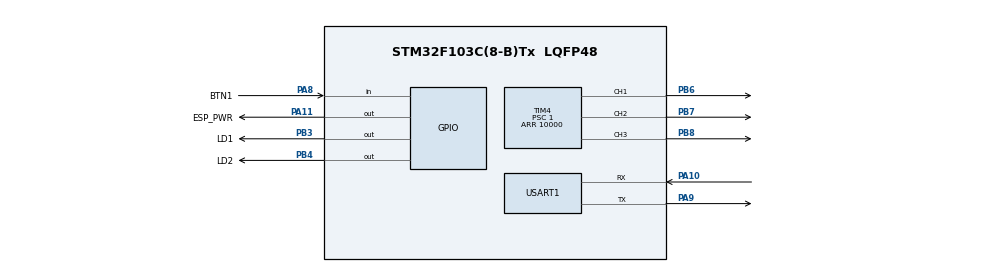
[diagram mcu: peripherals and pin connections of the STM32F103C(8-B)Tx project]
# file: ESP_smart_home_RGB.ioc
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Mcu.Family=STM32F1
TIM4.Channel-PWM\ Generation1\ CH1=TIM_CHANNEL_1
Dma.USART1_TX.1.Instance=DMA1_Channel4
TIM4.Pulse-PWM\ Generation3\ CH3=10000
NVIC.DMA1_Channel5_IRQn=true\:0\:0\:false\:false\:true\:false\:true
Dma.USART1_RX.0.PeriphDataAlignment=DMA_PDATAALIGN_BYTE
PA10.Mode=Asynchronous
Dma.USART1_TX.1.MemInc=DMA_MINC_ENABLE
PA11.GPIO_Label=ESP_PWR
ProjectManager.StackSize=0x400
PA13.Signal=SYS_JTMS-SWDIO
PA9.Mode=Asynchronous
PA8.GPIO_Label=BTN1
ProjectManager.TargetToolchain=STM32CubeIDE
TIM4.OCMode_PWM-PWM\ Generation3\ CH3=TIM_OCMODE_PWM2
SH.S_TIM4_CH3.0=TIM4_CH3,PWM Generation3 CH3
Dma.USART1_RX.0.Direction=DMA_PERIPH_TO_MEMORY
TIM4.Pulse-PWM\ Generation1\ CH1=5000
PA9.Signal=USART1_TX
TIM4.OCMode_PWM-PWM\ Generation1\ CH1=TIM_OCMODE_PWM2
PB6.Signal=S_TIM4_CH1
TIM4.Prescaler=1
Dma.USART1_RX.0.PeriphInc=DMA_PINC_DISABLE
Dma.USART1_RX.0.Priority=DMA_PRIORITY_LOW
TIM4.Channel-PWM\ Generation3\ CH3=TIM_CHANNEL_3
Dma.USART1_TX.1.MemDataAlignment=DMA_MDATAALIGN_BYTE
board=custom
TIM4.Channel-PWM\ Generation2\ CH2=TIM_CHANNEL_2
RCC.APB2Freq_Value=8000000
PB4.GPIO_Label=LD2
PA14.Mode=Serial_Wire
Dma.USART1_RX.0.MemDataAlignment=DMA_MDATAALIGN_BYTE
SH.S_TIM4_CH2.0=TIM4_CH2,PWM Generation2 CH2
PB7.Signal=S_TIM4_CH2
PA8.Signal=GPIO_Input
TIM4.Period=10000
Dma.USART1_RX.0.MemInc=DMA_MINC_ENABLE
PA13.Mode=Serial_Wire
Mcu.Name=STM32F103C(8-B)Tx
Dma.USART1_TX.1.PeriphDataAlignment=DMA_PDATAALIGN_BYTE
PB3.Signal=GPIO_Output
Mcu.Package=LQFP48
Dma.USART1_TX.1.Mode=DMA_NORMAL
USART1.VirtualMode=VM_ASYNC
PA11.Signal=GPIO_Output
PA10.Signal=USART1_RX
PA14.Signal=SYS_JTCK-SWCLK
ProjectManager.HeapSize=0x200
Dma.USART1_TX.1.PeriphInc=DMA_PINC_DISABLE
PA8.GPIO_PuPd=GPIO_PULLUP
VP_TIM4_VS_ClockSourceINT.Mode=Internal
NVIC.PriorityGroup=NVIC_PRIORITYGROUP_4
SH.S_TIM4_CH1.0=TIM4_CH1,PWM Generation1 CH1
Dma.Request1=USART1_TX
PB8.Signal=S_TIM4_CH3
Dma.USART1_RX.0.Mode=DMA_CIRCULAR
Dma.USART1_TX.1.Priority=DMA_PRIORITY_LOW
NVIC.DMA1_Channel4_IRQn=true\:0\:0\:false\:false\:true\:false\:true
NVIC.USART1_IRQn=true\:0\:0\:false\:false\:true\:true\:true
TIM4.OCMode_PWM-PWM\ Generation2\ CH2=TIM_OCMODE_PWM2
Dma.Request0=USART1_RX
RCC.APB1Freq_Value=8000000
Dma.USART1_RX.0.Instance=DMA1_Channel5
TIM4.Pulse-PWM\ Generation2\ CH2=5000
PB4.Signal=GPIO_Output
Dma.USART1_TX.1.Direction=DMA_MEMORY_TO_PERIPH
PB3.GPIO_Label=LD1

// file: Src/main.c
/* USER CODE BEGIN Header */
/**
 ******************************************************************************
 * @file           : main.c
 * @brief          : Main program body
 ******************************************************************************
 * @attention
 *
 * <h2><center>&copy; Copyright (c) 2020 STMicroelectronics.
 * All rights reserved.</center></h2>
 *
 * This software component is licensed by ST under BSD 3-Clause license,
 * the "License"; You may not use this file except in compliance with the
 * License. You may obtain a copy of the License at:
 *                        opensource.org/licenses/BSD-3-Clause
 *
 ******************************************************************************
 */
/* USER CODE END Header */

#include "main.h"
#include "dma.h"
#include "tim.h"
#include "usart.h"
#include "gpio.h"

/* USER CODE BEGIN Includes */
#include "tasker.h"
#include "esp01.h"
#include "rgb.h"

/* USER CODE END Includes */

/* USER CODE BEGIN PV */
void rgb_control(){
	uint32_t rgb_values;
	if (esp_parse_value(&rgb_values)) {
		uint8_t brightness = rgb_values%100;
		Color color = (rgb_values/100)%10;
		_Bool rgb_state = rgb_values/1000;

		rgb_setBrightness(brightness);
		rgb_setColor(color);

		if (rgb_state)
			rgb_on();
		else
			rgb_off();
	}
}
/* USER CODE END PV */

void SystemClock_Config(void);

int main(void)
{

  /* MCU Configuration--------------------------------------------------------*/

  /* Reset of all peripherals, Initializes the Flash interface and the Systick. */
  HAL_Init();

  /* Configure the system clock */
  SystemClock_Config();

  /* Initialize all configured peripherals */
  MX_GPIO_Init();
  MX_DMA_Init();
  MX_USART1_UART_Init();
  MX_TIM4_Init();
  /* USER CODE BEGIN 2 */

	LD2_GPIO_Port->BSRR = LD2_Pin;

	esp_power_on();
	esp_set_id(42);
	esp_initialize();
	rgb_init();

	Task esp_check_task = task_make(2000, esp_check_connection);
	Task wps_task = task_make(5000, esp_wps);
	Task rgb_task = task_make(100, rgb_control);

	task_start(esp_check_task);
	task_start(rgb_task);

  /* USER CODE END 2 */

  /* Infinite loop */
  /* USER CODE BEGIN WHILE */
	while (1)
	{

		if (!HAL_GPIO_ReadPin(BTN1_GPIO_Port, BTN1_Pin))
			task_start(wps_task);
		else
			task_stop(wps_task);

		task_state(rgb_task, NULL);
		task_state(wps_task, NULL);
		task_state(esp_check_task, NULL);

    /* USER CODE END WHILE */

	}
}

void SystemClock_Config(void)
{
  RCC_OscInitTypeDef RCC_OscInitStruct = {0};
  RCC_ClkInitTypeDef RCC_ClkInitStruct = {0};

  /** Initializes the CPU, AHB and APB busses clocks
  */
  RCC_OscInitStruct.OscillatorType = RCC_OSCILLATORTYPE_HSI;
  RCC_OscInitStruct.HSIState = RCC_HSI_ON;
  RCC_OscInitStruct.HSICalibrationValue = RCC_HSICALIBRATION_DEFAULT;
  RCC_OscInitStruct.PLL.PLLState = RCC_PLL_NONE;
  if (HAL_RCC_OscConfig(&RCC_OscInitStruct) != HAL_OK)
  {
    Error_Handler();
  }
  /** Initializes the CPU, AHB and APB busses clocks
  */
  RCC_ClkInitStruct.ClockType = RCC_CLOCKTYPE_HCLK|RCC_CLOCKTYPE_SYSCLK
                              |RCC_CLOCKTYPE_PCLK1|RCC_CLOCKTYPE_PCLK2;
  RCC_ClkInitStruct.SYSCLKSource = RCC_SYSCLKSOURCE_HSI;
  RCC_ClkInitStruct.AHBCLKDivider = RCC_SYSCLK_DIV1;
  RCC_ClkInitStruct.APB1CLKDivider = RCC_HCLK_DIV1;
  RCC_ClkInitStruct.APB2CLKDivider = RCC_HCLK_DIV1;

  if (HAL_RCC_ClockConfig(&RCC_ClkInitStruct, FLASH_LATENCY_0) != HAL_OK)
  {
    Error_Handler();
  }
}

void Error_Handler(void)
{
}

/************************ (C) COPYRIGHT STMicroelectronics *****END OF FILE****/
